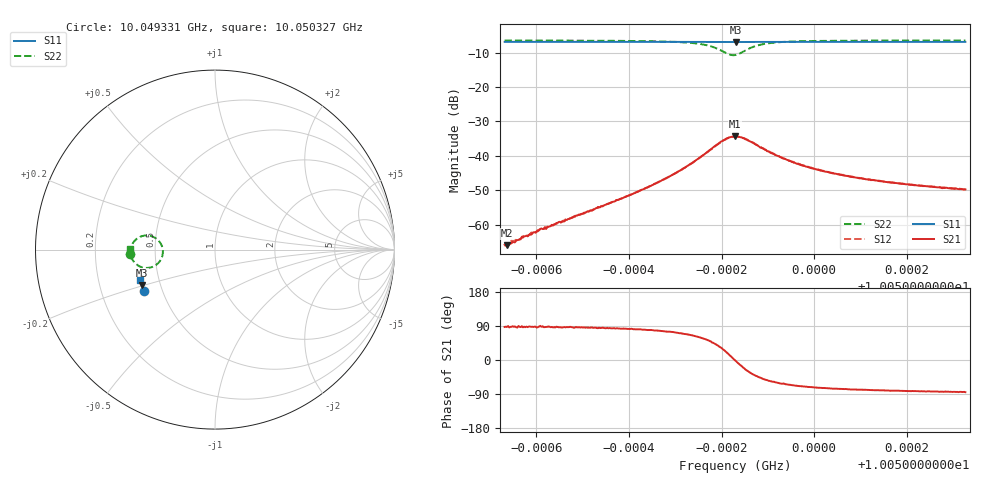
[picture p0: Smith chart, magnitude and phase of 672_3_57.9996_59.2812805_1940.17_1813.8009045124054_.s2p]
#  HZ  S  RI  R  50.00
! Rohde & Schwarz Vector Network Analyzer
! Rohde-Schwarz,ZNB20-2Port,1311601062101988,3.16
! Created: UTC 3/21/2024, 1:20:25 AM
! freq[Hz]  re:S11  im:S11  re:S21  im:S21  re:S12  im:S12  re:S22  im:S22
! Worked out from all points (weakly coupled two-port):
!   401 points, 10.049331 GHz to 10.050327 GHz, reference 50 ohm
!   highest |S21| = -34.30 dB at 10.049829 GHz (marker M1); lowest = -65.9 dB at 10.049336 GHz (marker M2)
!   lowest |S11| = -6.9 dB at 10.049832 GHz (marker M3), VSWR 2.64, Z = 19.8 - j9.84 ohm
!   |S11| at or under -10 dB: nowhere
!   |S22| runs from -10.7 to -6.5 dB; largest |S21 - S12| = 0.0016
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1.00493312e10  -0.3929 -0.2279  2.49e-05 0.000512  -1.23e-06 0.000488  -0.474 -0.023
1.00493362e10  -0.3931 -0.2277  2.55e-05 0.000505  1.17e-05 0.000499  -0.474 -0.0226
1.00493511e10  -0.3935 -0.2268  2.22e-05 0.000558  -4.21e-05 0.000587  -0.4738 -0.021
1.00493735e10  -0.3945 -0.2255  2.5e-05 0.000677  -3.66e-05 0.000688  -0.4738 -0.0187
1.00494059e10  -0.3953 -0.2235  2.13e-05 0.000837  1.13e-05 0.000846  -0.4736 -0.0149
1.0049498e10  -0.3981 -0.2181  8.28e-05 0.00144  1.25e-05 0.00144  -0.4722 -0.00335
1.00496025e10  -0.4013 -0.2117  0.000385 0.00268  0.000227 0.00271  -0.4676 0.0152
1.00496648e10  -0.4029 -0.208  0.000921 0.00409  0.000691 0.00416  -0.4601 0.0319
1.00497295e10  -0.4046 -0.2037  0.00289 0.00682  0.0025 0.00691  -0.4373 0.0589
1.00497618e10  -0.4053 -0.2016  0.00578 0.0087  0.00524 0.00897  -0.4067 0.075
1.00497842e10  -0.4055 -0.2001  0.00989 0.00944  0.00909 0.00999  -0.3678 0.0779
1.00498116e10  -0.4054 -0.1986  0.017 0.00595  0.0163 0.00721  -0.3052 0.038
1.00498291e10  -0.4056 -0.1983  0.0193 -0.000271  0.0191 0.00125  -0.2909 -0.0221
1.00498315e10  -0.4054 -0.1982  0.0192 -0.00114  0.0192 0.000427  -0.2925 -0.0311
1.0049844e10  -0.4059 -0.1979  0.0177 -0.00535  0.0181 -0.00406  -0.3119 -0.0704
1.00498564e10  -0.4066 -0.1975  0.0147 -0.00819  0.0155 -0.00714  -0.3418 -0.0932
1.00498913e10  -0.4081 -0.1958  0.00793 -0.00972  0.00888 -0.00923  -0.4106 -0.0973
1.00499386e10  -0.4099 -0.1929  0.00394 -0.00807  0.00442 -0.00763  -0.4488 -0.0719
1.00499958e10  -0.4117 -0.1893  0.00207 -0.00626  0.00247 -0.00622  -0.4641 -0.049
1.00500705e10  -0.4137 -0.1847  0.00115 -0.00498  0.00144 -0.00495  -0.471 -0.03
1.00501626e10  -0.416 -0.179  0.000672 -0.00408  0.000896 -0.00406  -0.4739 -0.0144
1.00503269e10  -0.4199 -0.1689  0.000294 -0.00325  0.000502 -0.00322  -0.4753 0.0048
